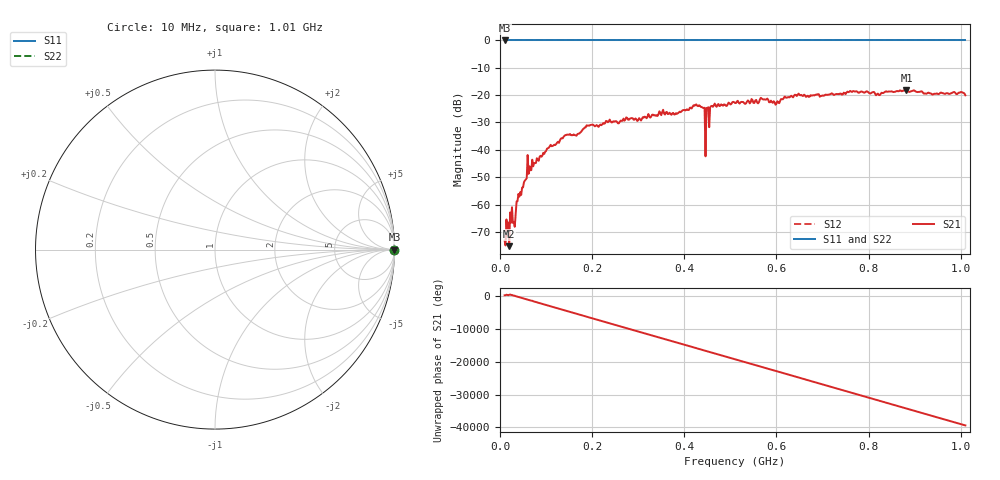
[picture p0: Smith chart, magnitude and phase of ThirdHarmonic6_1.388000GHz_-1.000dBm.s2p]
! 8/16/2025 3:48:37 PM
! C:\ANRITSUVNA\TEMP\TEMP.S2P
! CHANNEL.1
! TR.MEASUREMENT
! RAW.DATA
! RF.CORRECTION.OFF
! AVERAGING.OFF
! IF.BANDWIDTH: 5KHZ
! SWEEPTYPE:  FREQ.SWEEP(Linear)
! Reference Plane Port Info
! PORT:  PORT1  PORT2
! DISTANCE:  0  m  0  m
! TIME:  0  s  0  s
! PHASE.OFFSET:  0  deg.  0  deg.
! LOSS:  0  dB  0  dB
! REF.LOSS:  0  dB  0  dB
! REF.FREQ:  0  Hz  0  Hz
! Power Info
! POWER:  -20  dBm  -20  dBm
! EFF.POWER:  -20  dBm  -20  dBm
! SOURCE.ATTEN:  0  dB  0  dB
! TEST.ATTEN:  0  dB  0  dB
# GHZ S RI R 50.0
! FREQ.GHZ  S11RE  S11IM  S21RE  S21IM  S12RE  S12IM  S22RE  S22IM
!; PortSelection: Port_12
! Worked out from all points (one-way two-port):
!   501 points, 10 MHz to 1.01 GHz, reference 50 ohm
!   highest |S21| = -18.11 dB at 882 MHz (marker M1); lowest = -75.2 dB at 20 MHz (marker M2)
!   lowest |S11| = 0.0 dB at 10 MHz (marker M3)
!   |S11| at or under -10 dB: nowhere
!   |S22| runs from 0.0 to 0.0 dB; largest |S21 - S12| = 1.1
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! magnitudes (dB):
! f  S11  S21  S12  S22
! 10 MHz  0.0  -73.2  0.0  0.0
! 20 MHz  0.0  -75.2  0.0  0.0
! 26 MHz  0.0  -61.0  0.0  0.0
! 32 MHz  0.0  -68.2  0.0  0.0
! 40 MHz  0.0  -56.1  0.0  0.0
! 64 MHz  0.0  -46.0  0.0  0.0
! 142 MHz  0.0  -34.6  0.0  0.0
! 178 MHz  0.0  -32.9  0.0  0.0
! 344 MHz  0.0  -26.9  0.0  0.0
! 428 MHz  0.0  -23.9  0.0  0.0
! 440 MHz  0.0  -24.6  0.0  0.0
! 442 MHz  0.0  -24.7  0.0  0.0
! 450 MHz  0.0  -24.6  0.0  0.0
! 452 MHz  0.0  -24.4  0.0  0.0
! 462 MHz  0.0  -24.3  0.0  0.0
! 510 MHz  0.0  -22.9  0.0  0.0
! 602 MHz  0.0  -22.2  0.0  0.0
! 644 MHz  0.0  -20.3  0.0  0.0
! 678 MHz  0.0  -20.1  0.0  0.0
! 844 MHz  0.0  -18.6  0.0  0.0
! 882 MHz  0.0  -18.1  0.0  0.0
! 1.01 GHz  0.0  -20.1  0.0  0.0
